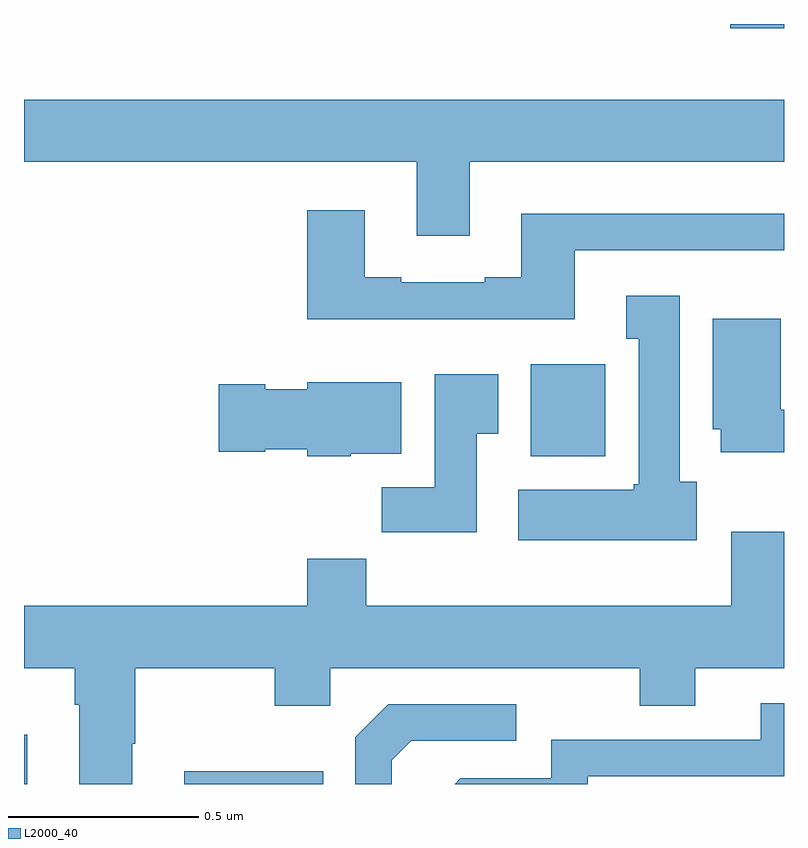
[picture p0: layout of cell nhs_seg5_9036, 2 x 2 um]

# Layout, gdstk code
import gdstk
lib = gdstk.Library(unit=1e-6, precision=1e-09)
def R(c, l, rs):  # rectangles x0, y0, x1, y1
    for r in rs: c.add(gdstk.rectangle(r[:2], r[2:], *l))
def P(c, l, *ps):  # polygons
    for p in ps: c.add(gdstk.Polygon(p, *l))
L2000_40 = (2000, 40)

nhs_seg5_9036 = lib.new_cell('nhs_seg5_9036')
R(nhs_seg5_9036, L2000_40, [(229,845.799,229.009,845.929), (229.422,845.799,229.787,845.833), (230.333,846.662,230.53,846.904), (230.859,847.788,231,847.799)])
P(nhs_seg5_9036, L2000_40, [(230.173,847.436),(231,847.436),(231,847.6),(229,847.6),(229,847.436),(230.033,847.436),(230.033,847.242),(230.173,847.242)],
  [(230.449,847.203),(231,847.203),(231,847.3),(230.309,847.3),(230.309,847.132),(230.213,847.132),(230.213,847.119),(229.993,847.119),(229.993,847.132),(229.897,847.132),(229.897,847.309),(229.745,847.309),(229.745,847.022),(230.449,847.022)],
  [(230.77,846.594),(230.725,846.594),(230.725,847.084),(230.585,847.084),(230.585,846.971),(230.618,846.971),(230.618,846.588),(230.605,846.588),(230.605,846.574),(230.301,846.574),(230.301,846.44),(230.77,846.44)],
  [(231,846.784),(230.992,846.784),(230.992,847.024),(230.813,847.024),(230.813,846.732),(230.834,846.732),(230.834,846.672),(231,846.672)],
  [(230.191,846.721),(230.248,846.721),(230.248,846.877),(230.081,846.877),(230.081,846.58),(229.942,846.58),(229.942,846.462),(230.191,846.462)],
  [(229.86,846.668),(229.993,846.668),(229.993,846.856),(229.746,846.856),(229.746,846.838),(229.635,846.838),(229.635,846.851),(229.512,846.851),(229.512,846.673),(229.635,846.673),(229.635,846.68),(229.746,846.68),(229.746,846.662),(229.86,846.662)],
  [(229.285,845.905),(229.293,845.905),(229.293,846.104),(229.66,846.104),(229.66,846.005),(229.806,846.005),(229.806,846.104),(230.62,846.104),(230.62,846.005),(230.767,846.005),(230.767,846.104),(231,846.104),(231,846.463),(230.861,846.463),(230.861,846.268),(229.901,846.268),(229.901,846.392),(229.745,846.392),(229.745,846.268),(229,846.268),(229,846.104),(229.133,846.104),(229.133,846.008),(229.145,846.008),(229.145,845.799),(229.285,845.799)],
  [(230.484,845.82),(231,845.82),(231,846.012),(230.939,846.012),(230.939,845.916),(230.388,845.916),(230.388,845.814),(230.148,845.814),(230.133,845.799),(230.484,845.799)],
  [(229.968,845.862),(230.019,845.913),(230.296,845.913),(230.296,846.009),(229.959,846.009),(229.872,845.922),(229.872,845.799),(229.968,845.799)])

lib.write_gds('nhs_seg5_9036.gds')
